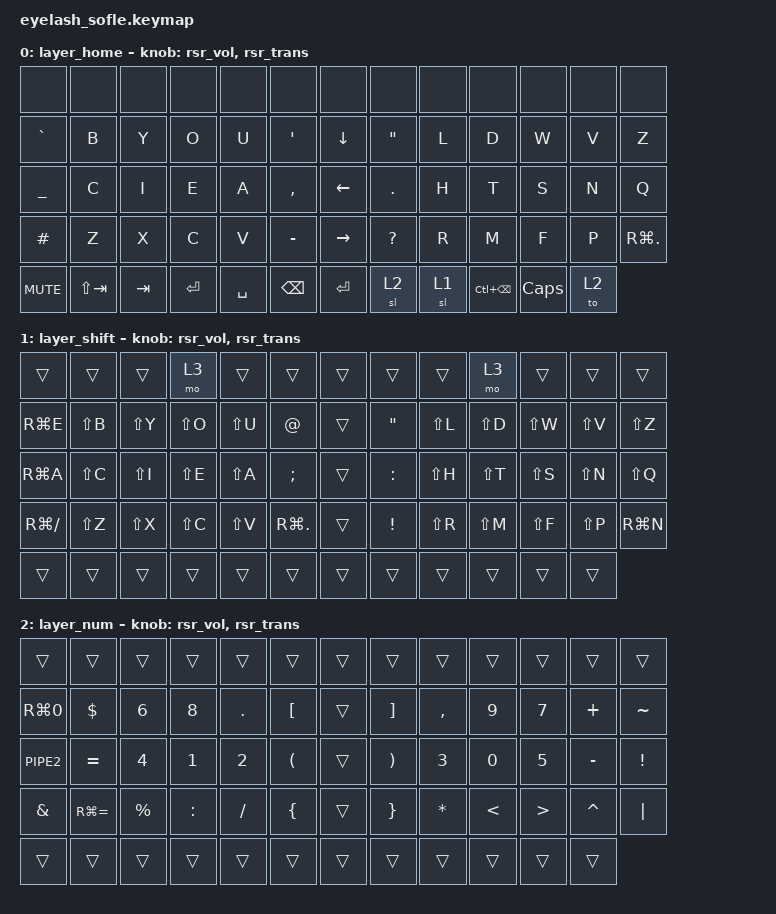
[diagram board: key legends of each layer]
#define ZMK_POINTING_DEFAULT_MOVE_VAL 1200  // 600
#define ZMK_POINTING_DEFAULT_SCRL_VAL 25   // 10

#include <input/processors.dtsi>
#include <zephyr/dt-bindings/input/input-event-codes.h>
#include <behaviors.dtsi>
#include <behaviors/runtime-sensor-rotate.dtsi>
#include <dt-bindings/zmk/bt.h>
#include <dt-bindings/zmk/keys.h>
#include <dt-bindings/zmk/outputs.h>
#include <dt-bindings/zmk/pointing.h>
#include <dt-bindings/zmk/rgb.h>

&mmv_input_listener { input-processors = <&zip_xy_scaler 2 1>; };

&msc_input_listener { input-processors = <&zip_scroll_scaler 2 1>; };

&msc {
    acceleration-exponent = <1>;      // 0
    time-to-max-speed-ms = <100>;       // 300
    delay-ms = <0>;                   // 0
};

&mmv {
    time-to-max-speed-ms = <500>;
    acceleration-exponent = <1>;
    trigger-period-ms = <16>;
};

&soft_off { hold-time-ms = <2000>; };

/ {
    scroll_encoder: scroll_encoder {
        compatible = "zmk,behavior-sensor-rotate";
        #sensor-binding-cells = <0>;
        bindings = <&msc SCRL_DOWN>, <&msc SCRL_UP>;

        tap-ms = <100>;
    };

    behaviors {
        rsr_vol: rsr_vol {
            compatible = "zmk,behavior-runtime-sensor-rotate";
            #sensor-binding-cells = <0>;
            tap-ms = <5>;
            cw-binding = <&kp C_VOL_UP>;
            ccw-binding = <&kp C_VOL_DN>;
        };

        rsr_trans: rsr_trans {
            compatible = "zmk,behavior-runtime-sensor-rotate";
            #sensor-binding-cells = <0>;
            tap-ms = <0>;
        };
    };

    combos {
        compatible = "zmk,combos";

        softoff {
            bindings = <&soft_off>;
            key-positions = <14 28 40>;
        };
    };

    macros {
        SHIFT_MCLK: SHIFT_MCLK {
            compatible = "zmk,behavior-macro";
            #binding-cells = <0>;
            bindings =
                <&macro_press>,
                <&kp LEFT_SHIFT>,
                <&macro_press>,
                <&mkp MB3>,
                <&macro_pause_for_release>,
                <&macro_release>,
                <&kp LEFT_SHIFT &mkp MB3>;

            label = "SHIFT_MCLK";
        };
    };

    keymap {
        compatible = "zmk,keymap";

        layer0 {
            bindings = <
&none         &none         &none         &none         &none         &none         &none         &none         &none         &none         &none         &none         &none
&kp GRAVE     &kp B         &kp Y         &kp O         &kp U         &kp SQT       &kp DOWN      &kp DQT       &kp L         &kp D         &kp W         &kp V         &kp Z
&kp UNDER     &kp C         &kp I         &kp E         &kp A         &kp COMMA     &kp LEFT      &kp DOT       &kp H         &kp T         &kp S         &kp N         &kp Q
&kp HASH      &kp Z         &kp X         &kp C         &kp V         &kp MINUS     &kp RIGHT     &kp QMARK     &kp R         &kp M         &kp F         &kp P         &kp RG(DOT)
&kp C_MUTE    &kp LS(TAB)   &kp TAB       &kp RET       &kp SPACE     &kp BSPC      &kp RET       &sl 2         &sl 1         &kp LC(BSPC)  &kp CAPS      &to 2
            >;
            sensor-bindings = <&rsr_vol &rsr_trans>;

            display-name = "layer_home";
        };

        layer_1 {
            bindings = <
&trans        &trans        &trans        &mo 3         &trans        &trans        &trans        &trans        &trans        &mo 3         &trans        &trans        &trans
&kp RG(E)     &kp LS(B)     &kp LS(Y)     &kp LS(O)     &kp LS(U)     &kp AT        &trans        &kp DQT       &kp LS(L)     &kp LS(D)     &kp LS(W)     &kp LS(V)     &kp LS(Z)
&kp RG(A)     &kp LS(C)     &kp LS(I)     &kp LS(E)     &kp LS(A)     &kp SEMI      &trans        &kp COLON     &kp LS(H)     &kp LS(T)     &kp LS(S)     &kp LS(N)     &kp LS(Q)
&kp RG(SLASH) &kp LS(Z)     &kp LS(X)     &kp LS(C)     &kp LS(V)     &kp RG(DOT)   &trans        &kp EXCL      &kp LS(R)     &kp LS(M)     &kp LS(F)     &kp LS(P)     &kp RG(N)
&trans        &trans        &trans        &trans        &trans        &trans        &trans        &trans        &trans        &trans        &trans        &trans
            >;

            display-name = "layer_shift";
            sensor-bindings = <&rsr_vol &rsr_trans>;

        };

        layer_2 {
            bindings = <
&trans        &trans        &trans        &trans        &trans        &trans        &trans        &trans        &trans        &trans        &trans        &trans        &trans
&kp RG(0)     &kp DLLR      &kp N6        &kp N8        &kp DOT       &kp LBKT      &trans        &kp RBKT      &kp COMMA     &kp N9        &kp N7        &kp PLUS      &kp TILDE
&kp PIPE2     &kp EQUAL     &kp N4        &kp N1        &kp N2        &kp LPAR      &trans        &kp RPAR      &kp N3        &kp N0        &kp N5        &kp MINUS     &kp EXCL
&kp AMPS      &kp RG(EQUAL)     &kp PRCNT     &kp COLON     &kp SLASH     &kp LBRC      &trans        &kp RBRC      &kp ASTRK     &kp LT        &kp GT        &kp CARET     &kp PIPE
&trans        &trans        &trans        &trans        &trans        &trans        &trans        &trans        &trans        &trans        &trans        &trans
            >;
             display-name = "layer_num";
            sensor-bindings = <&rsr_vol &rsr_trans>;
        };

            display-name = "LAYER2";
            sensor-bindings = <&rsr_vol &rsr_trans>;
        };

        layer_3 {
            bindings = <
&trans  &trans  &trans  &trans  &trans  &trans    &trans  &trans  &trans  &trans  &trans  &trans  &trans
&trans  &trans  &trans  &trans  &trans  &trans    &trans  &trans  &trans  &trans  &trans  &trans  &trans
&trans  &trans  &trans  &trans  &trans  &trans    &trans  &trans  &trans  &trans  &trans  &trans  &trans
&trans  &trans  &trans  &trans  &trans  &trans    &trans  &trans  &trans  &trans  &trans  &trans  &trans
&trans  &trans  &trans  &trans  &trans  &trans    &trans  &trans  &trans  &trans  &trans  &trans
            >;

            display-name = "LAYER3";
            sensor-bindings = <&rsr_vol &rsr_trans>;
        };

        layer_4 {
            bindings = <
&trans  &trans  &trans  &trans  &trans  &trans    &trans  &trans  &trans  &trans  &trans  &trans  &trans
&trans  &trans  &trans  &trans  &trans  &trans    &trans  &trans  &trans  &trans  &trans  &trans  &trans
&trans  &trans  &trans  &trans  &trans  &trans    &trans  &trans  &trans  &trans  &trans  &trans  &trans
&trans  &trans  &trans  &trans  &trans  &trans    &trans  &trans  &trans  &trans  &trans  &trans  &trans
&trans  &trans  &trans  &trans  &trans  &trans    &trans  &trans  &trans  &trans  &trans  &trans
            >;

            display-name = "LAYER4";
            sensor-bindings = <&rsr_vol &rsr_trans>;
        };
    };
};
